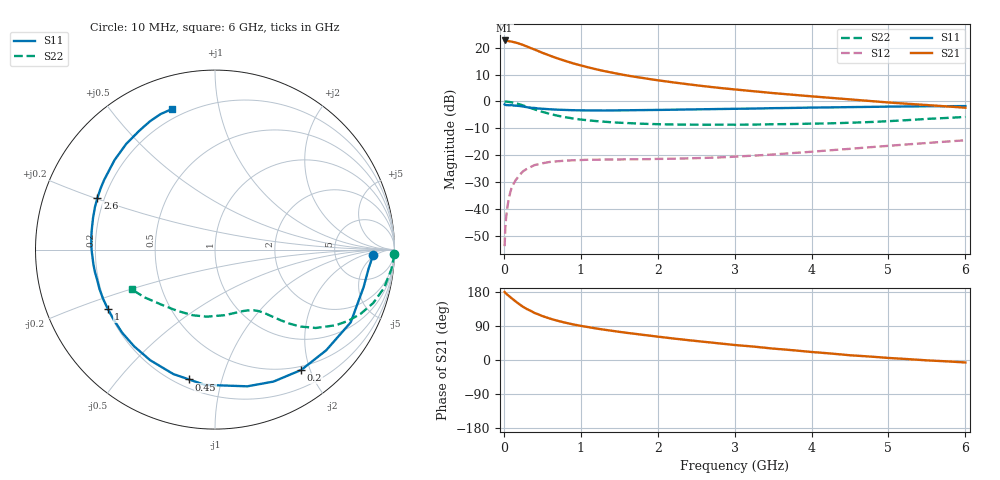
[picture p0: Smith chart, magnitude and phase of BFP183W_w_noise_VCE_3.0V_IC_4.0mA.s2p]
! Infineon Technologies  Discrete & RF Semiconductors
! BFP183W
! VCE =  3.0 V,  IC =  4.0 mA
! Common Emitter S-Parameters:  Jan 2017
# GHz  S  MA  R  50
!  f  S11  S21  S12  S22
! GHz  MAG  ANG  MAG  ANG  MAG  ANG  MAG  ANG
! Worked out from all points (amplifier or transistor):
!   77 points, 10 MHz to 6 GHz, reference 50 ohm
!   highest |S21| = 22.8 dB at 10 MHz (marker M1)
!   |S21| within 3 dB of that: start of sweep to 364.2 MHz
!   unconditionally stable (mu >= 1): 2.338 GHz to 4.642 GHz
!   at 130 MHz: K = 0.07, MSG = 26.3 dB, |S12| = -30.5 dB
!   at 2.2 GHz: K = 0.97, MSG = 14.2 dB, |S12| = -21.4 dB
!   at 6 GHz: K = 0.84, MSG = 6.1 dB, |S12| = -14.5 dB
!   lowest NFmin = 0.73 dB at 450 MHz
!   S11 on the Smith chart (normalised r, x): 10 MHz: 15, -4; 200 MHz: 0.44, -1.86; 450 MHz: 0.25, -0.79; 1 GHz: 0.20, -0.25; 2.6 GHz: 0.17, +0.20; 6 GHz: 0.15, +0.73
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0.01  0.8809 -2.1  13.73 179.4  0.002 91.3  0.9992 -1.4
0.04  0.8553 -11.8  13.49 173.3  0.0092 85.1  0.9907 -5.2
0.1  0.858 -28.2  13.1 163.1  0.0242 75.7  0.966 -12.8
0.15  0.8357 -42.2  12.59 155.1  0.0334 68.7  0.93 -18.7
0.2  0.8249 -54.4  11.97 147.4  0.0418 62.4  0.8877 -23.7
0.25  0.8043 -66.1  11.31 140.4  0.0499 56.1  0.8421 -28.1
0.3  0.7827 -76.7  10.58 134.4  0.0553 51.6  0.7947 -32.0
0.4  0.7559 -94.3  9.288 124.1  0.0651 44.2  0.7109 -37.9
0.45  0.7378 -101.3  8.67 120.3  0.0676 41.0  0.6756 -39.8
0.5  0.7312 -108.5  8.095 116.0  0.0702 38.1  0.6411 -42.0
0.6  0.7142 -120.4  7.145 109.2  0.0746 33.8  0.5853 -44.8
0.7  0.7025 -129.9  6.333 103.4  0.0767 30.7  0.5413 -46.9
0.8  0.6943 -138.1  5.696 98.4  0.0786 28.9  0.5085 -48.5
1  0.6825 -150.9  4.701 90.1  0.0808 25.6  0.46 -51.3
1.1  0.6814 -156.3  4.314 86.7  0.0819 24.6  0.4447 -52.3
1.6  0.684 -176.6  3.051 71.6  0.0836 23.3  0.3961 -58.7
2.1  0.6977 168.3  2.375 59.3  0.0851 26.0  0.3743 -67.0
2.6  0.7159 156.2  1.927 48.0  0.0885 29.8  0.3684 -77.3
3.1  0.7321 145.8  1.624 37.9  0.0951 34.2  0.369 -87.9
4.1  0.7713 128.5  1.214 19.6  0.1184 40.7  0.3875 -111.4
5.1  0.8034 115.9  0.935 4.2  0.1525 41.9  0.4366 -137.0
6  0.8194 106.9  0.764 -6.5  0.1888 38.8  0.5143 -154.4
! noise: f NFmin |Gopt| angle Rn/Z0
0.45  0.73  0.32  50  0.29
0.9  0.9  0.29  94  0.14
1.9  1.5  0.43  165  0.08
2.4  1.78  0.48  179  0.08
